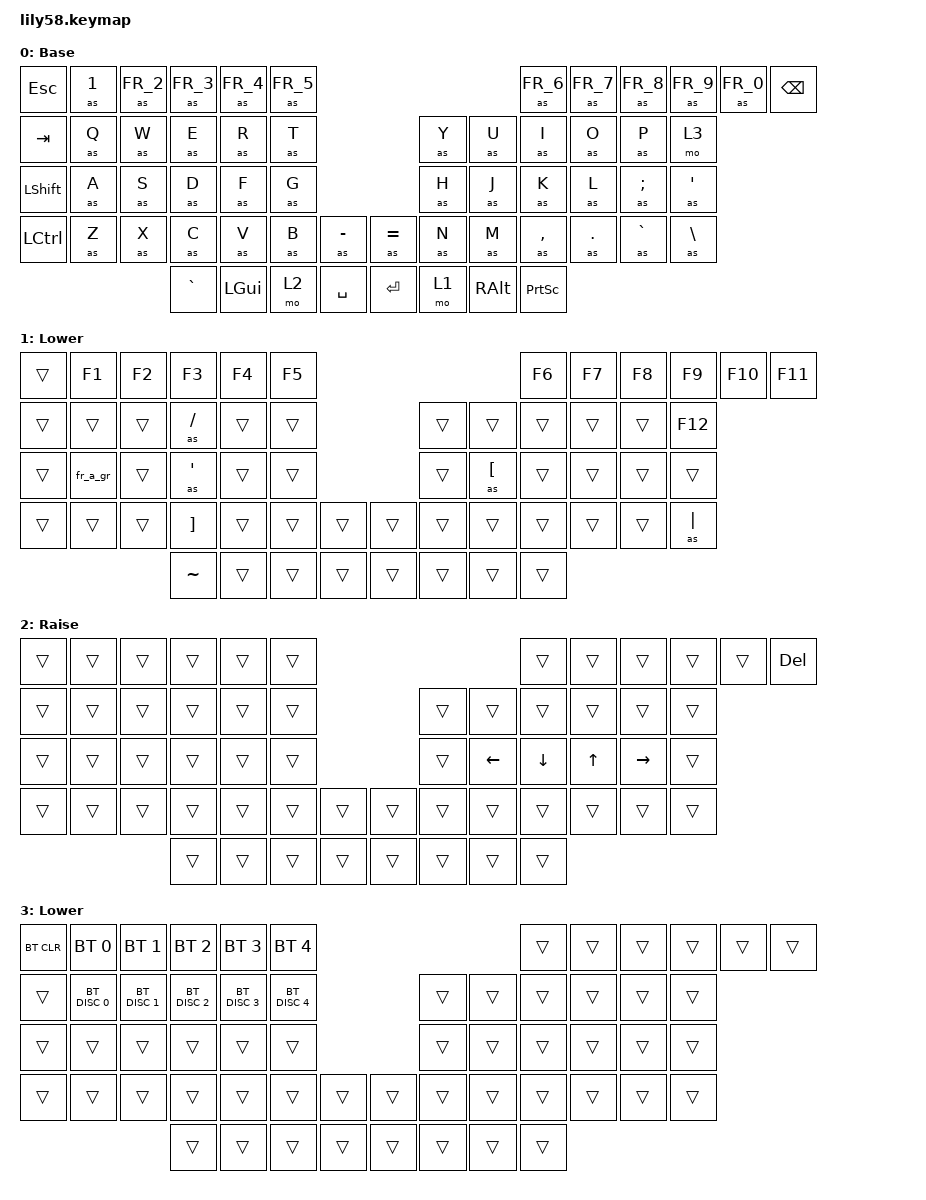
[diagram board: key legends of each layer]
/*
 * Copyright (c) 2020 The ZMK Contributors
 *
 * SPDX-License-Identifier: MIT
 */

#include <behaviors.dtsi>
#include <dt-bindings/zmk/keys.h>
#include <dt-bindings/zmk/bt.h>
#include <dt-bindings/zmk/ext_power.h>
#include "zmk-helpers/helper.h"

// French.dsti
// From https://github.com/JeffDess/zmk-config/blob/main/chars/french.dtsi
/* French letters */
ZMK_UNICODE_PAIR(fr_ae,        FR_0, FR_0, E, FR_6,   FR_0, FR_0, C, FR_6)  // æ/Æ
ZMK_UNICODE_PAIR(fr_oe,        FR_0, FR_1, FR_5, FR_3,  FR_0, FR_1, FR_5, FR_2) // œ/Œ
ZMK_UNICODE_PAIR(fr_a_gr,      FR_0, FR_0, E, FR_0,   FR_0, FR_0, C, FR_0)  // à/À
ZMK_UNICODE_PAIR(fr_a_cf,      FR_0, FR_0, E, FR_2,   FR_0, FR_0, C, FR_2)  // â/Â
ZMK_UNICODE_PAIR(fr_c_cd,      FR_0, FR_0, E, FR_7,   FR_0, FR_0, C, FR_7)  // ç/Ç
ZMK_UNICODE_PAIR(fr_e_gr,      FR_0, FR_0, E, FR_8,   FR_0, FR_0, C, FR_8)  // è/È
ZMK_UNICODE_PAIR(fr_e_ag,      FR_0, FR_0, E, FR_9,   FR_0, FR_0, C, FR_9)  // é/É
ZMK_UNICODE_PAIR(fr_e_cf,      FR_0, FR_0, E, A,    FR_0, FR_0, C, A)   // ê/Ê
ZMK_UNICODE_PAIR(fr_e_di,      FR_0, FR_0, E, B,    FR_0, FR_0, C, B)   // ë/Ë
ZMK_UNICODE_PAIR(fr_i_cf,      FR_0, FR_0, E, E,    FR_0, FR_0, C, E)   // î/Î
ZMK_UNICODE_PAIR(fr_i_di,      FR_0, FR_0, E, F,    FR_0, FR_0, C, F)   // ï/Ï
ZMK_UNICODE_PAIR(fr_o_cf,      FR_0, FR_0, F, FR_4,   FR_0, FR_0, D, FR_4)  // ô/Ô
ZMK_UNICODE_PAIR(fr_u_gr,      FR_0, FR_0, F, FR_9,   FR_0, FR_0, D, FR_9)  // ù/Ù
ZMK_UNICODE_PAIR(fr_u_cf,      FR_0, FR_0, F, B,    FR_0, FR_0, D, B)   // û/Û
ZMK_UNICODE_PAIR(fr_u_di,      FR_0, FR_0, F, C,    FR_0, FR_0, D, C)   // ü/Ü
ZMK_UNICODE_PAIR(fr_y_di,      FR_0, FR_0, F, F,    FR_0, FR_1, FR_7, FR_8) // ÿ/Ÿ

/* French symbols */
ZMK_UNICODE_PAIR(fr_backquote_tilde, FR_0, FR_0, FR_6, FR_0, 	FR_0, FR_0, FR_7, E) // `/~
ZMK_UNICODE_SINGLE(fr_pipe,  	FR_0, FR_0, FR_7,    C) // |
ZMK_UNICODE_SINGLE(fr_bkSla,	  FR_0, FR_0, FR_5,    C) // \
ZMK_UNICODE_SINGLE(fr_slash,	  FR_0, FR_0, FR_2,    F) // /
ZMK_UNICODE_SINGLE(fr_inf,	  	FR_0, FR_0, FR_3,    C) // <
ZMK_UNICODE_SINGLE(fr_sup,		  FR_0, FR_0, FR_3,    E) // >
ZMK_UNICODE_SINGLE(fr_left_curl, FR_0, FR_0, FR_7, B) // Left Curly Bracket
ZMK_UNICODE_SINGLE(fr_right_curl, FR_0, FR_0, FR_7, D) // Right Curly Bracket
ZMK_UNICODE_SINGLE(fr_left_square, FR_0, FR_0, FR_5, B) // Left Square Bracket
ZMK_UNICODE_SINGLE(fr_right_square, FR_0, FR_0, FR_5, D) // Right Square Bracket
ZMK_UNICODE_SINGLE(fr_accent_cir, FR_0, FR_0, FR_5, E) // ^

/ {
    behaviors {
        as_ht: autoshift_hold_tap {
            compatible = "zmk,behavior-hold-tap";
            label = "AUTOSHIFT_HOLD_TAP";
            #binding-cells = <2>;
            tapping-term-ms = <175>;
            bindings = <&shifted>, <&kp>;
        };
    };

    macros {
        shifted: macro_shifted_kp {
            #binding-cells = <1>;
            label = "MACRO_SHIFTED_KP";
            compatible = "zmk,behavior-macro-one-param";
            bindings =
                <&macro_press>,
                <&kp LSHFT &macro_param_1to1>,
                <&macro_tap>,
                <&kp MACRO_PLACEHOLDER>,
                <&macro_release>,
                <&kp LSHFT>;
        };

        as: autoshift {
            compatible = "zmk,behavior-macro-one-param";
            #binding-cells = <1>;
            label = "AUTOSHIFT_KP";
            bindings =
                <&macro_press>,
                <&macro_param_1to1 &macro_param_1to2 &as_ht MACRO_PLACEHOLDER MACRO_PLACEHOLDER>,
                <&macro_pause_for_release>,
                <&macro_release>,
                <&macro_param_1to1 &macro_param_1to2 &as_ht MACRO_PLACEHOLDER MACRO_PLACEHOLDER>;
        };
    };
};


/ {
    keymap {
        compatible = "zmk,keymap";

        default_layer {
            // ------------------------------------------------------------------------------------------------------------
            // |  ESC  |  1  |  2  |  3   |  4   |  5   |                   |  6   |  7    |  8    |  9   |   0   |   BSPC   |
            // |  TAB  |  Q  |  W  |  E   |  R   |  T   |                   |  Y   |  U    |  I    |  O   |   P   |   -   |
            // |  SHIFT |  A  |  S  |  D   |  F   |  G   |                   |  H   |  J    |  K    |  L   |   ;   |   '   |
            // | CTRL |  Z  |  X  |  C   |  V   |  B   |   "["  |  |  "]"  |  N   |  M    |  ,    |  .   |   /   | SHIFT |
            //                     | ALT  | GUI  | LOWER|  SPACE |  | ENTER | RAISE| BSPC  | GUI   |

            display-name = "Base";
            bindings = <
&kp ESC           &as NUMBER_1  &as FR_2  &as FR_3    &as FR_4    &as FR_5                          &as FR_6  &as FR_7         &as FR_8           &as FR_9   &as FR_0     &kp BACKSPACE
&kp TAB           &as Q         &as W   &as E     &as R     &as T                           &as Y   &as U          &as I            &as O    &as P      &mo 3
&kp LEFT_SHIFT    &as A         &as S   &as D     &as F     &as G                           &as H   &as J          &as K            &as L    &as SEMI   &as SQT
&kp LEFT_CONTROL  &as Z         &as X   &as C     &as V     &as B   &as MINUS    &as EQUAL  &as N   &as M          &as COMMA        &as DOT  &as GRAVE  &as BACKSLASH
                                        &kp GRAVE  &kp LGUI  &mo 2   &kp SPACE    &kp RET    &mo 1   &kp RIGHT_ALT  &kp PRINTSCREEN
            >;
        };

        lower_layer {
            // ------------------------------------------------------------------------------------------------------------
            // | BTCLR | BT1 | BT2 |  BT3 |  BT4 |  BT5 |                   |      |       |       |      |       |       |
            // |  F1   |  F2 |  F3 |  F4  |  F5  |  F6  |                   |  F7  |  F8   |  F9   |  F10 |  F11  |  F12  |
            // |   `   |  !  |  @  |  #   |  $   |  %   |                   |  ^   |  &    |  *    |  (   |   )   |   ~   |
            // |       |     |     |      |      |      |        |  |       |      |  _    |  +    |  {   |   }   |  "|"  |
            //                     |      |      |      |        |  |       |      |       |       |

            display-name = "Lower";
            bindings = <
&trans  &kp F1         &kp F2  &kp F3             &kp F4  &kp F5                    &kp F6  &kp F7            &kp F8  &kp F9  &kp F10  &kp F11
&trans  &trans         &trans  &as SLASH          &trans  &trans                    &trans  &trans            &trans  &trans  &trans   &kp F12
&trans  &fr_a_gr  &trans  &as SINGLE_QUOTE   &trans  &trans                    &trans  &as LEFT_BRACKET  &trans  &trans  &trans   &trans
&trans  &trans         &trans  &kp RIGHT_BRACKET  &trans  &trans  &trans    &trans  &trans  &trans            &trans  &trans  &trans   &as PIPE
                               &kp TILDE          &trans  &trans  &trans    &trans  &trans  &trans            &trans
            >;
        };

        raise_layer {
            // ------------------------------------------------------------------------------------------------------------
            // |       |     |     |      |      |      |                   |      |       |       |      |       |       |
            // |   `   |  1  |  2  |  3   |  4   |  5   |                   |  6   |   7   |   8   |  9   |   0   |       |
            // |   F1  |  F2 |  F3 |  F4  |  F5  |  F6  |                   |      |   <-  |   v   |  ^   |  ->   |       |
            // |   F7  |  F8 |  F9 |  F10 |  F11 |  F12 |        |  |       |  +   |   -   |   =   |  [   |   ]   |   \   |
            //                     |      |      |      |        |  |       |      |       |       |

            display-name = "Raise";
            bindings = <
&trans  &trans  &trans  &trans  &trans  &trans                    &trans  &trans    &trans    &trans  &trans     &kp DEL
&trans  &trans  &trans  &trans  &trans  &trans                    &trans  &trans    &trans    &trans  &trans     &trans
&trans  &trans  &trans  &trans  &trans  &trans                    &trans  &kp LEFT  &kp DOWN  &kp UP  &kp RIGHT  &trans
&trans  &trans  &trans  &trans  &trans  &trans  &trans    &trans  &trans  &trans    &trans    &trans  &trans     &trans
                        &trans  &trans  &trans  &trans    &trans  &trans  &trans    &trans
            >;
        };

        layer_3 {
            display-name = "Lower";
            bindings = <
&bt BT_CLR  &bt BT_SEL 0   &bt BT_SEL 1   &bt BT_SEL 2   &bt BT_SEL 3   &bt BT_SEL 4                     &trans  &trans  &trans  &trans  &trans  &trans
&trans      &bt BT_DISC 0  &bt BT_DISC 1  &bt BT_DISC 2  &bt BT_DISC 3  &bt BT_DISC 4                    &trans  &trans  &trans  &trans  &trans  &trans
&trans      &trans         &trans         &trans         &trans         &trans                           &trans  &trans  &trans  &trans  &trans  &trans
&trans      &trans         &trans         &trans         &trans         &trans         &trans    &trans  &trans  &trans  &trans  &trans  &trans  &trans
                                          &trans         &trans         &trans         &trans    &trans  &trans  &trans  &trans
            >;
        };
    };
};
